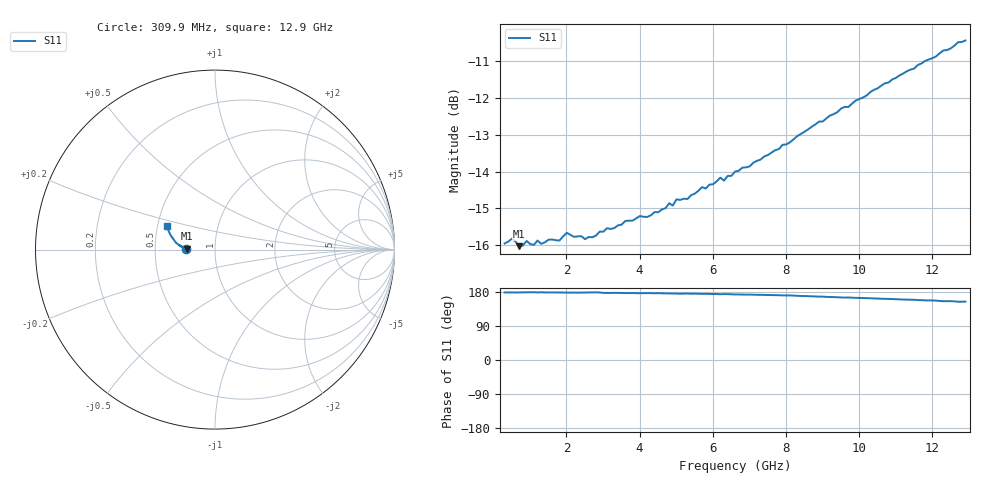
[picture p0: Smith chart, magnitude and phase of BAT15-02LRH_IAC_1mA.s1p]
! Infineon Technologies  Discrete & RF Semiconductors
! BAT15-02LRH
! IAC = 1 mA
! One-Port S-Parameters
# Hz  S  MA  R  50
!f  S11
!Hz  Mag  Ang
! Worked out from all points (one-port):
!   127 points, 309.9 MHz to 12.9 GHz, reference 50 ohm
!   lowest |S11| = -16.0 dB at 709.6 MHz (marker M1), VSWR 1.38, Z = 36.4 + j0.34 ohm
!   |S11| at or under -10 dB: start of sweep to end of sweep
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3.0985e8  0.1594 178.2
5.0975e8  0.1618 178.4
7.0965e8  0.1581 178.3
9.0955e8  0.1607 178.6
1.10945e9  0.1587 178.8
1.2094e9  0.1609 178.2
1.30935e9  0.1593 178.7
1.8091e9  0.1609 178.1
1.90905e9  0.163 178.1
2.009e9  0.1649 178.0
2.50875e9  0.1616 177.9
3.50825e9  0.1691 176.9
4.008e9  0.1737 176.3
4.2079e9  0.1732 176.5
5.10745e9  0.1826 174.9
5.30735e9  0.1831 175.4
6.2069e9  0.1958 173.6
6.30685e9  0.194 173.9
6.6067e9  0.1995 172.9
7.0065e9  0.2027 172.6
8.2059e9  0.2206 170.0
9.8051e9  0.2466 164.4
1.14043e10  0.2742 159.1
1.2004e10  0.2842 157.2
1.230385e10  0.2911 155.1
1.250375e10  0.293 155.3
1.270365e10  0.2987 153.8
1.290355e10  0.3003 154.0
